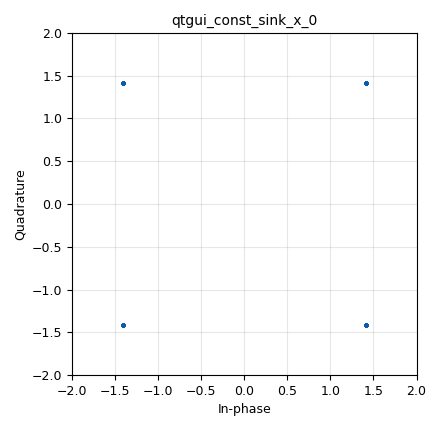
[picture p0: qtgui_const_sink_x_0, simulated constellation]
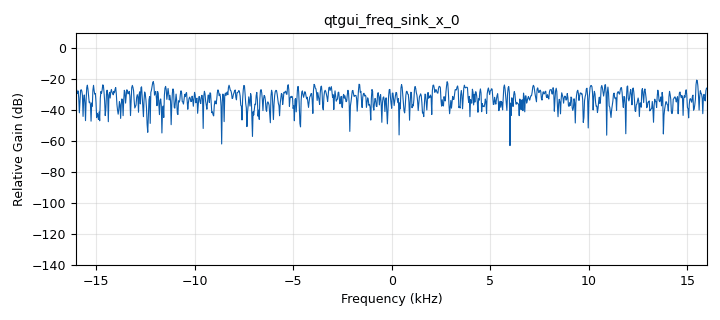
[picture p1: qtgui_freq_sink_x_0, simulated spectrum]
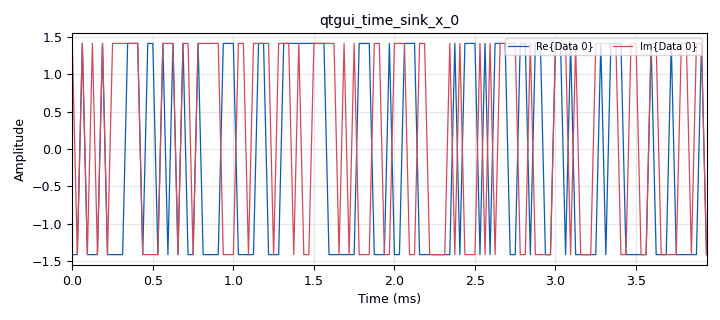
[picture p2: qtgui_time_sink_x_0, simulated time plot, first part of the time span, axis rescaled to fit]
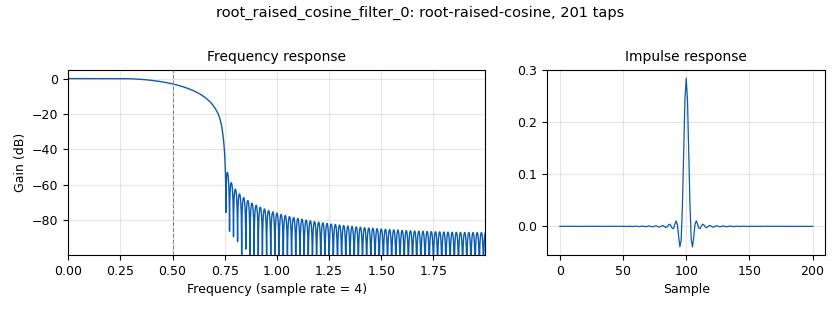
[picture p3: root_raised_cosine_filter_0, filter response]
options:
  parameters:
    generate_options: qt_gui
    id: qpsk_upsampling_pulse_shaping
    output_language: python
    title: Not titled yet
  states: {}

blocks:
- name: samp_rate
  id: variable
  parameters:
    value: '32000'
  states: {}
- name: variable_constellation_0
  id: variable_constellation
  parameters:
    precision: '8'
    type: qpsk
  states: {}
- name: analog_random_source_x_0
  id: analog_random_source_x
  parameters:
    max: '256'
    min: '0'
    num_samps: '1000'
    repeat: 'True'
    type: byte
  states: {}
- name: blocks_throttle2_0
  id: blocks_throttle2
  parameters:
    samples_per_second: samp_rate
    type: complex
  states: {}
- name: digital_constellation_modulator_0
  id: digital_constellation_modulator
  parameters:
    constellation: variable_constellation_0
    differential: 'False'
    excess_bw: '0.5'
    samples_per_symbol: '4'
  states: {}
- name: qtgui_const_sink_x_0
  id: qtgui_const_sink_x
  parameters:
    size: '1024'
    type: complex
  states: {}
- name: qtgui_freq_sink_x_0
  id: qtgui_freq_sink_x
  parameters:
    bw: samp_rate
    fc: '0'
    fftsize: '1024'
    type: complex
  states: {}
- name: qtgui_time_sink_x_0
  id: qtgui_time_sink_x
  parameters:
    size: '1024'
    srate: samp_rate
    type: complex
  states: {}
- name: root_raised_cosine_filter_0
  id: root_raised_cosine_filter
  parameters:
    alpha: '0.5'
    decim: '4'
    gain: '1'
    ntaps: '200'
    samp_rate: '4'
    sym_rate: '1.0'
    type: fir_filter_ccf
  states: {}

connections:
- [analog_random_source_x_0, '0', digital_constellation_modulator_0, '0']
- [blocks_throttle2_0, '0', qtgui_const_sink_x_0, '0']
- [blocks_throttle2_0, '0', qtgui_freq_sink_x_0, '0']
- [blocks_throttle2_0, '0', qtgui_time_sink_x_0, '0']
- [digital_constellation_modulator_0, '0', root_raised_cosine_filter_0, '0']
- [root_raised_cosine_filter_0, '0', blocks_throttle2_0, '0']

metadata:
  file_format: 1
  grc_version: 3.10.7.0
